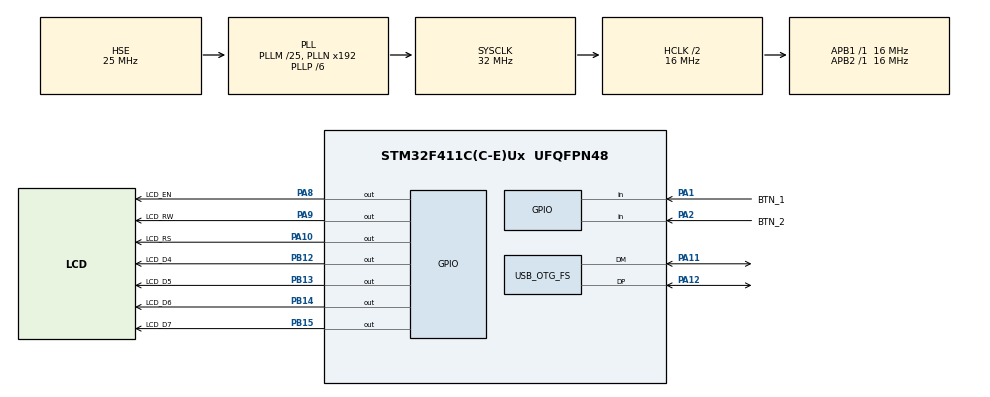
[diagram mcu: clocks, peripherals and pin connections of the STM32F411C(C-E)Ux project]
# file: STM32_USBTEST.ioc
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Mcu.Family=STM32F4
Mcu.Name=STM32F411C(C-E)Ux
Mcu.Package=UFQFPN48
NVIC.OTG_FS_IRQn=true\:0\:0\:false\:false\:true\:false\:true\:true
NVIC.PriorityGroup=NVIC_PRIORITYGROUP_4
PA1.GPIO_Label=BTN_1
PA1.Signal=GPIO_Input
PA10.GPIO_Label=LCD_RS
PA10.Signal=GPIO_Output
PA11.Mode=Device_Only
PA11.Signal=USB_OTG_FS_DM
PA12.Mode=Device_Only
PA12.Signal=USB_OTG_FS_DP
PA13.Mode=Serial_Wire
PA13.Signal=SYS_JTMS-SWDIO
PA14.Mode=Serial_Wire
PA14.Signal=SYS_JTCK-SWCLK
PA2.GPIO_Label=BTN_2
PA2.Signal=GPIO_Input
PA8.GPIO_Label=LCD_EN
PA8.Signal=GPIO_Output
PA9.GPIO_Label=LCD_RW
PA9.Signal=GPIO_Output
PB12.GPIO_Label=LCD_D4
PB12.Signal=GPIO_Output
PB13.GPIO_Label=LCD_D5
PB13.Signal=GPIO_Output
PB14.GPIO_Label=LCD_D6
PB14.Signal=GPIO_Output
PB15.GPIO_Label=LCD_D7
PB15.Signal=GPIO_Output
PH0\ -\ OSC_IN.Mode=HSE-External-Oscillator
PH0\ -\ OSC_IN.Signal=RCC_OSC_IN
PH1\ -\ OSC_OUT.Mode=HSE-External-Oscillator
PH1\ -\ OSC_OUT.Signal=RCC_OSC_OUT
ProjectManager.HeapSize=0x200
ProjectManager.StackSize=0x400
ProjectManager.TargetToolchain=STM32CubeIDE
RCC.48MHZClocksFreq_Value=48000000
RCC.AHBCLKDivider=RCC_SYSCLK_DIV2
RCC.AHBFreq_Value=16000000
RCC.APB1Freq_Value=16000000
RCC.APB1TimFreq_Value=16000000
RCC.APB2Freq_Value=16000000
RCC.APB2TimFreq_Value=16000000
RCC.CortexFreq_Value=16000000
RCC.HCLKFreq_Value=16000000
RCC.HSE_VALUE=25000000
RCC.HSI_VALUE=16000000
RCC.LSE_VALUE=32768
RCC.PLLM=25
RCC.PLLP=RCC_PLLP_DIV6
RCC.SYSCLKFreq_VALUE=32000000
RCC.SYSCLKSource=RCC_SYSCLKSOURCE_PLLCLK
RCC.VCOOutputFreq_Value=192000000
USB_DEVICE.CLASS_NAME_FS=HID
USB_DEVICE.CONFIGURATION_STRING_HID_FS=HID Config Niklas
USB_DEVICE.INTERFACE_STRING_HID_FS=HID Interface Niklas
USB_DEVICE.PRODUCT_STRING_HID_FS=STM32 Niklas Keyboard
USB_DEVICE.VirtualMode=Hid
USB_DEVICE.VirtualModeFS=Hid_FS
USB_OTG_FS.VirtualMode=Device_Only
VP_USB_DEVICE_VS_USB_DEVICE_HID_FS.Mode=HID_FS
board=custom

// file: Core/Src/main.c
/* USER CODE BEGIN Header */
/**
  ******************************************************************************
  * @file           : main.c
  * @brief          : Main program body
  ******************************************************************************
  * @attention
  *
  * Copyright (c) 2025 STMicroelectronics.
  * All rights reserved.
  *
  * This software is licensed under terms that can be found in the LICENSE file
  * in the root directory of this software component.
  * If no LICENSE file comes with this software, it is provided AS-IS.
  *
  ******************************************************************************
  */
/* USER CODE END Header */
#include "main.h"
#include "usb_device.h"

/* USER CODE BEGIN Includes */
#include "usbd_hid.h"
#include "Driver_1602.h"
#include "stdbool.h"
/* USER CODE END Includes */

/* USER CODE BEGIN PV */
extern USBD_HandleTypeDef hUsbDeviceFS;
/* USER CODE END PV */

void SystemClock_Config(void);
static void MX_GPIO_Init(void);

/* USER CODE BEGIN 0 */
int _write(int file, char *ptr, int len) {
	CDC_Transmit_FS(ptr, (uint16_t)len);
    return len;
}
/* USER CODE END 0 */

int main(void)
{

  /* MCU Configuration--------------------------------------------------------*/

  /* Reset of all peripherals, Initializes the Flash interface and the Systick. */
  HAL_Init();

  /* Configure the system clock */
  SystemClock_Config();

  /* Initialize all configured peripherals */
  MX_GPIO_Init();
  MX_USB_DEVICE_Init();
  /* USER CODE BEGIN 2 */

  lcd_init();
  lcd_put_custom_char(customchar_binarycount, 0b00000000);

  //USBD_Interface_fops_FS.Init();
  Keyboard_Report_Structure KR_example = {
	  0b00000010, /* MODIFIER */ // LShift
	  0, /* RESERVED */
	  //0x04, 0x05, 0x2C, 0x1E, 0x1F, 0x20 // "ab 123"
	  0x00, 0x04, 0x05, 0x06, 0x07, 0x08 // "abcde"
  };
  Keyboard_Report_Structure KR_releaseall = {
	  0 /* MODIFIER */, 0 /* RESERVED */,
	  0,0,0,0,0,0
  };
  uint8_t GPIO_15_awaiting_release = 0;
  char presstime_str[16+1] = "";
  uint32_t start_presstime = 0;
  /* USER CODE END 2 */

  /* Infinite loop */
  while (1)
  {

    /* USER CODE BEGIN 3 */
	  if(HAL_GPIO_ReadPin (BTN_1_GPIO_Port, BTN_1_Pin)) {
		  lcd_clear();
		  lcd_put_str_at("Button 1", 13, 1, 0);
		  printf("Button 1 pressed\r\n");
		  //printf("test");
	  }
	  if(HAL_GPIO_ReadPin (BTN_2_GPIO_Port, BTN_2_Pin)) { // WARNING: This logic is faulty in the USB report cause of HAL_Delay on low clock speed (getting errors when delay is only at 10ms)
		  //printf("Button 2 pressed\r\n");
		  if (start_presstime == 0) { start_presstime = HAL_GetTick(); }
		  GPIO_15_awaiting_release = 1;

		  lcd_clear();
		  lcd_put_str_at("Sending HID", 13, 1, 0);
		  USBD_HID_SendReport(&hUsbDeviceFS, (uint8_t*) &KR_example, KEYBOARD_REPORT_LENGTH);
		  sprintf(presstime_str, "Btn2 %8u ms", HAL_GetTick() - start_presstime);
		  lcd_clear();
		  lcd_put_str_at(presstime_str, 16, 0, 0);
		  lcd_put_str_at("STM32 - 1602A", 13, 1, 0);
		  lcd_send_data(0b000); // Write our custom char
	  } else if (GPIO_15_awaiting_release) { // Release all keys is GPIO 15 is let go of
		  GPIO_15_awaiting_release = 0;
		  USBD_HID_SendReport(&hUsbDeviceFS, (uint8_t*) &KR_releaseall, KEYBOARD_REPORT_LENGTH);
		  start_presstime = 0;
	  }

	  HAL_Delay(100);
  }
  /* USER CODE END 3 */
}

void SystemClock_Config(void)
{
  RCC_OscInitTypeDef RCC_OscInitStruct = {0};
  RCC_ClkInitTypeDef RCC_ClkInitStruct = {0};

  /** Configure the main internal regulator output voltage
  */
  __HAL_RCC_PWR_CLK_ENABLE();
  __HAL_PWR_VOLTAGESCALING_CONFIG(PWR_REGULATOR_VOLTAGE_SCALE1);

  /** Initializes the RCC Oscillators according to the specified parameters
  * in the RCC_OscInitTypeDef structure.
  */
  RCC_OscInitStruct.OscillatorType = RCC_OSCILLATORTYPE_HSE;
  RCC_OscInitStruct.HSEState = RCC_HSE_ON;
  RCC_OscInitStruct.PLL.PLLState = RCC_PLL_ON;
  RCC_OscInitStruct.PLL.PLLSource = RCC_PLLSOURCE_HSE;
  RCC_OscInitStruct.PLL.PLLM = 25;
  RCC_OscInitStruct.PLL.PLLN = 192;
  RCC_OscInitStruct.PLL.PLLP = RCC_PLLP_DIV6;
  RCC_OscInitStruct.PLL.PLLQ = 4;
  if (HAL_RCC_OscConfig(&RCC_OscInitStruct) != HAL_OK)
  {
    Error_Handler();
  }

  /** Initializes the CPU, AHB and APB buses clocks
  */
  RCC_ClkInitStruct.ClockType = RCC_CLOCKTYPE_HCLK|RCC_CLOCKTYPE_SYSCLK
                              |RCC_CLOCKTYPE_PCLK1|RCC_CLOCKTYPE_PCLK2;
  RCC_ClkInitStruct.SYSCLKSource = RCC_SYSCLKSOURCE_PLLCLK;
  RCC_ClkInitStruct.AHBCLKDivider = RCC_SYSCLK_DIV2;
  RCC_ClkInitStruct.APB1CLKDivider = RCC_HCLK_DIV1;
  RCC_ClkInitStruct.APB2CLKDivider = RCC_HCLK_DIV1;

  if (HAL_RCC_ClockConfig(&RCC_ClkInitStruct, FLASH_LATENCY_0) != HAL_OK)
  {
    Error_Handler();
  }
}

static void MX_GPIO_Init(void)
{
  GPIO_InitTypeDef GPIO_InitStruct = {0};

  /* GPIO Ports Clock Enable */
  __HAL_RCC_GPIOH_CLK_ENABLE();
  __HAL_RCC_GPIOA_CLK_ENABLE();
  __HAL_RCC_GPIOB_CLK_ENABLE();

  /*Configure GPIO pin Output Level */
  HAL_GPIO_WritePin(GPIOB, LCD_D4_Pin|LCD_D5_Pin|LCD_D6_Pin|LCD_D7_Pin, GPIO_PIN_RESET);

  /*Configure GPIO pin Output Level */
  HAL_GPIO_WritePin(GPIOA, LCD_EN_Pin|LCD_RW_Pin|LCD_RS_Pin, GPIO_PIN_RESET);

  /*Configure GPIO pins : BTN_1_Pin BTN_2_Pin */
  GPIO_InitStruct.Pin = BTN_1_Pin|BTN_2_Pin;
  GPIO_InitStruct.Mode = GPIO_MODE_INPUT;
  GPIO_InitStruct.Pull = GPIO_NOPULL;
  HAL_GPIO_Init(GPIOA, &GPIO_InitStruct);

  /*Configure GPIO pins : LCD_D4_Pin LCD_D5_Pin LCD_D6_Pin LCD_D7_Pin */
  GPIO_InitStruct.Pin = LCD_D4_Pin|LCD_D5_Pin|LCD_D6_Pin|LCD_D7_Pin;
  GPIO_InitStruct.Mode = GPIO_MODE_OUTPUT_PP;
  GPIO_InitStruct.Pull = GPIO_NOPULL;
  GPIO_InitStruct.Speed = GPIO_SPEED_FREQ_LOW;
  HAL_GPIO_Init(GPIOB, &GPIO_InitStruct);

  /*Configure GPIO pins : LCD_EN_Pin LCD_RW_Pin LCD_RS_Pin */
  GPIO_InitStruct.Pin = LCD_EN_Pin|LCD_RW_Pin|LCD_RS_Pin;
  GPIO_InitStruct.Mode = GPIO_MODE_OUTPUT_PP;
  GPIO_InitStruct.Pull = GPIO_NOPULL;
  GPIO_InitStruct.Speed = GPIO_SPEED_FREQ_LOW;
  HAL_GPIO_Init(GPIOA, &GPIO_InitStruct);

}

void Error_Handler(void)
{
  __disable_irq();
  while (1)
  {
  }
}
